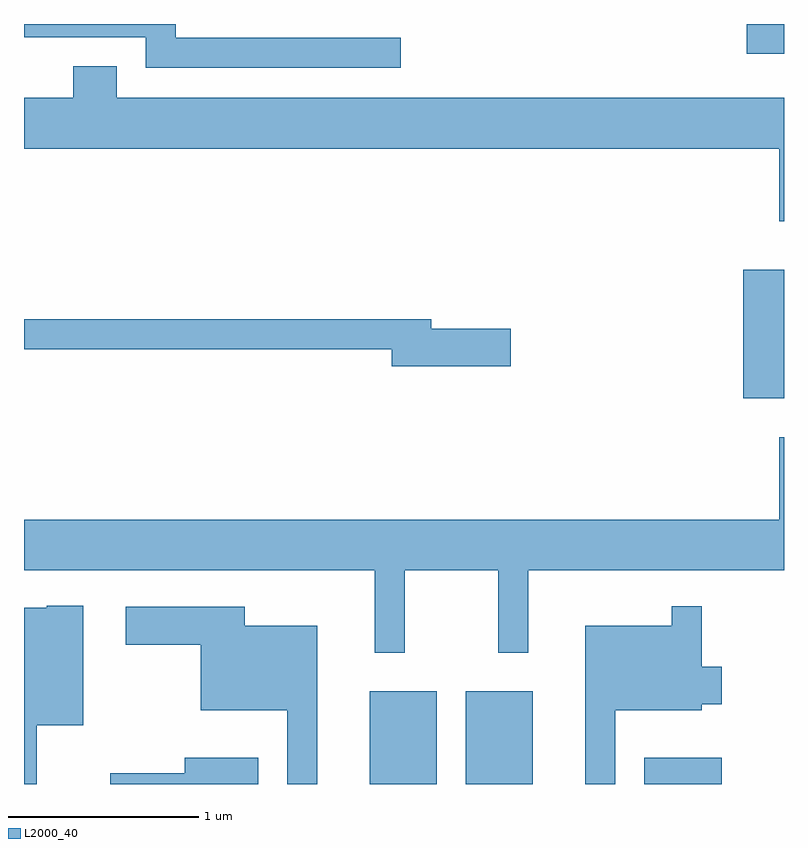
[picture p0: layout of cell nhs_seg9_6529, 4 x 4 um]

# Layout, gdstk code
import gdstk
lib = gdstk.Library(unit=1e-6, precision=1e-09)
def R(c, l, rs):  # rectangles x0, y0, x1, y1
    for r in rs: c.add(gdstk.rectangle(r[:2], r[2:], *l))
def P(c, l, *ps):  # polygons
    for p in ps: c.add(gdstk.Polygon(p, *l))
L2000_40 = (2000, 40)

nhs_seg9_6529 = lib.new_cell('nhs_seg9_6529')
R(nhs_seg9_6529, L2000_40, [(379.431,2028.432,379.784,2028.919), (379.936,2028.432,380.289,2028.919), (380.876,2028.432,381.284,2028.569), (381.396,2030.461,381.611,2031.139), (381.416,2032.276,381.611,2032.432)])
P(nhs_seg9_6529, L2000_40, [(379.593,2032.359),(378.409,2032.359),(378.409,2032.432),(377.611,2032.432),(377.611,2032.361),(378.251,2032.361),(378.251,2032.201),(379.593,2032.201)],
  [(381.611,2032.044),(378.099,2032.044),(378.099,2032.209),(377.871,2032.209),(377.871,2032.044),(377.611,2032.044),(377.611,2031.776),(381.586,2031.776),(381.586,2031.393),(381.611,2031.393)],
  [(380.174,2030.829),(379.754,2030.829),(379.754,2030.879),(377.611,2030.879),(377.611,2030.721),(379.546,2030.721),(379.546,2030.631),(380.174,2030.631)],
  [(379.614,2029.556),(380.106,2029.556),(380.106,2029.123),(380.264,2029.123),(380.264,2029.556),(381.611,2029.556),(381.611,2030.258),(381.586,2030.258),(381.586,2029.824),(377.611,2029.824),(377.611,2029.556),(379.456,2029.556),(379.456,2029.123),(379.614,2029.123)],
  [(377.679,2028.741),(377.924,2028.741),(377.924,2029.369),(377.73,2029.369),(377.73,2029.359),(377.611,2029.359),(377.611,2028.432),(377.679,2028.432)],
  [(380.724,2028.821),(381.179,2028.821),(381.179,2028.851),(381.284,2028.851),(381.284,2029.049),(381.179,2029.049),(381.179,2029.368),(381.021,2029.368),(381.021,2029.264),(380.566,2029.264),(380.566,2028.432),(380.724,2028.432)],
  [(379.154,2029.264),(378.774,2029.264),(378.774,2029.364),(378.146,2029.364),(378.146,2029.166),(378.541,2029.166),(378.541,2028.821),(378.996,2028.821),(378.996,2028.432),(379.154,2028.432)],
  [(378.844,2028.569),(378.456,2028.569),(378.456,2028.489),(378.066,2028.489),(378.066,2028.432),(378.844,2028.432)])

lib.write_gds('nhs_seg9_6529.gds')
